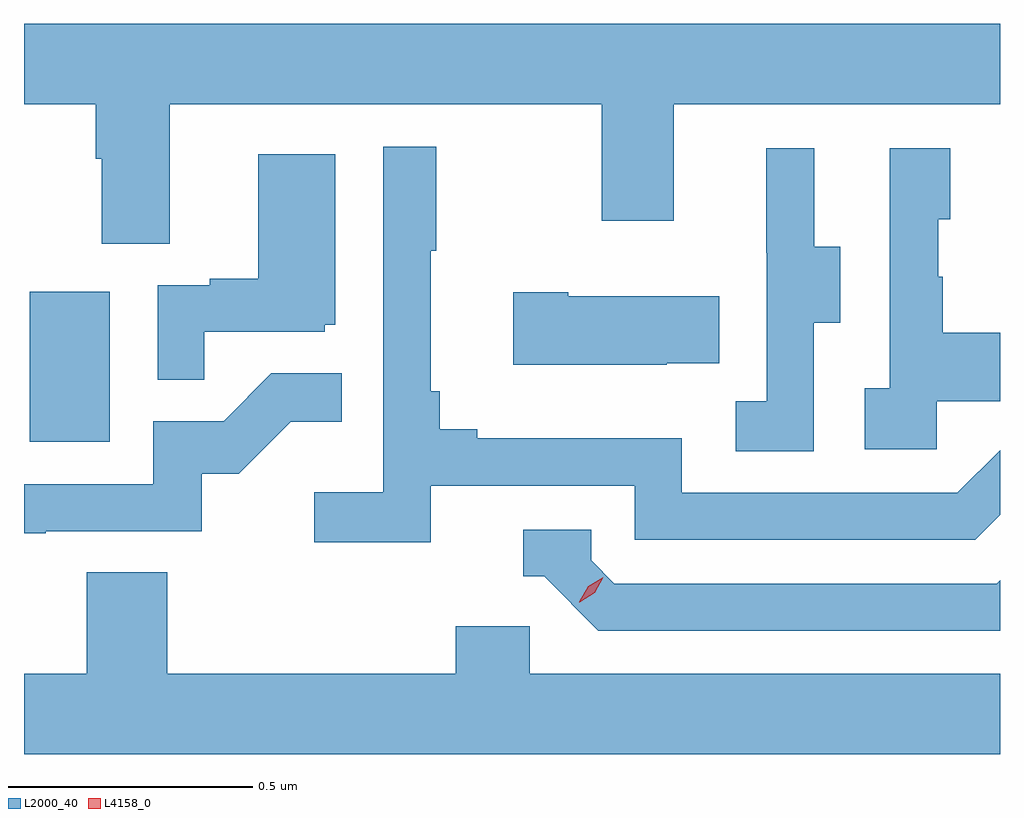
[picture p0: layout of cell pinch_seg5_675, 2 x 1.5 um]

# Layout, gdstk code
import gdstk
lib = gdstk.Library(unit=1e-6, precision=1e-09)
def R(c, l, rs):  # rectangles x0, y0, x1, y1
    for r in rs: c.add(gdstk.rectangle(r[:2], r[2:], *l))
def P(c, l, *ps):  # polygons
    for p in ps: c.add(gdstk.Polygon(p, *l))
L2000_40 = (2000, 40)
L4158_0 = (4158, 0)

pinch_seg5_675 = lib.new_cell('pinch_seg5_675')
R(pinch_seg5_675, L2000_40, [(1055.318,850.74,1055.482,851.047)])
P(pinch_seg5_675, L2000_40, [(1055.605,851.432),(1056.49,851.432),(1056.49,851.193),(1056.637,851.193),(1056.637,851.432),(1057.306,851.432),(1057.306,851.596),(1055.306,851.596),(1055.306,851.432),(1055.453,851.432),(1055.453,851.32),(1055.465,851.32),(1055.465,851.146),(1055.605,851.146)],
  [(1056.14,850.65),(1056.558,850.65),(1056.558,850.539),(1057.255,850.539),(1057.306,850.59),(1057.306,850.723),(1057.218,850.635),(1056.654,850.635),(1056.654,850.747),(1056.235,850.747),(1056.235,850.766),(1056.158,850.766),(1056.158,850.843),(1056.139,850.843),(1056.139,851.131),(1056.151,851.131),(1056.151,851.344),(1056.042,851.344),(1056.042,850.636),(1055.901,850.636),(1055.901,850.534),(1056.14,850.534)],
  [(1056.924,850.984),(1056.979,850.984),(1056.979,851.139),(1056.925,851.139),(1056.925,851.341),(1056.827,851.341),(1056.827,851.127),(1056.828,851.127),(1056.828,850.823),(1056.765,850.823),(1056.765,850.72),(1056.924,850.72)],
  [(1057.176,850.823),(1057.306,850.823),(1057.306,850.963),(1057.189,850.963),(1057.189,851.078),(1057.179,851.078),(1057.179,851.196),(1057.204,851.196),(1057.204,851.341),(1057.08,851.341),(1057.08,850.85),(1057.029,850.85),(1057.029,850.725),(1057.176,850.725)],
  [(1055.675,850.965),(1055.922,850.965),(1055.922,850.98),(1055.944,850.98),(1055.944,851.329),(1055.786,851.329),(1055.786,851.074),(1055.687,851.074),(1055.687,851.061),(1055.58,851.061),(1055.58,850.867),(1055.675,850.867)],
  [(1056.623,850.901),(1056.731,850.901),(1056.731,851.038),(1056.421,851.038),(1056.421,851.046),(1056.309,851.046),(1056.309,850.898),(1056.623,850.898)],
  [(1055.351,850.557),(1055.67,850.557),(1055.67,850.674),(1055.746,850.674),(1055.853,850.781),(1055.957,850.781),(1055.957,850.88),(1055.813,850.88),(1055.715,850.782),(1055.571,850.782),(1055.571,850.653),(1055.306,850.653),(1055.306,850.552),(1055.351,850.552)],
  [(1057.306,850.456),(1057.299,850.449),(1056.516,850.449),(1056.468,850.497),(1056.468,850.56),(1056.329,850.56),(1056.329,850.464),(1056.372,850.464),(1056.483,850.353),(1057.306,850.353)],
  [(1057.306,850.264),(1056.342,850.264),(1056.342,850.362),(1056.191,850.362),(1056.191,850.264),(1055.6,850.264),(1055.6,850.472),(1055.435,850.472),(1055.435,850.264),(1055.306,850.264),(1055.306,850.1),(1057.306,850.1)])
P(pinch_seg5_675, L4158_0, [(1056.444,850.411),(1056.444,850.412),(1056.462,850.444),(1056.493,850.462),(1056.493,850.462),(1056.493,850.462),(1056.476,850.43),(1056.445,850.411)])

lib.write_gds('pinch_seg5_675.gds')
